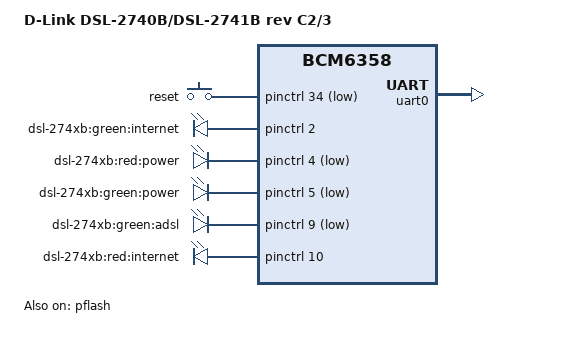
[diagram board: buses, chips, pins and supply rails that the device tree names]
/dts-v1/;

#include "bcm6358.dtsi"

#include <dt-bindings/input/input.h>

/ {
	model = "D-Link DSL-2740B/DSL-2741B rev C2/3";
	compatible = "d-link,dsl-274xb-c2", "brcm,bcm6358";

	chosen {
		bootargs = "rootfstype=squashfs,jffs2 noinitrd console=ttyS0,115200";
		stdout-path = "serial0:115200n8";
	};

	keys {
		compatible = "gpio-keys-polled";
		#address-cells = <1>;
		#size-cells = <0>;
		poll-interval = <20>;

		reset {
			label = "reset";
			gpios = <&pinctrl 34 1>;
			linux,code = <KEY_RESTART>;
			debounce-interval = <60>;
		};
	};

	leds {
		compatible = "gpio-leds";

		inet_green {
			label = "dsl-274xb:green:internet";
			gpios = <&pinctrl 2 0>;
		};
		power_red {
			label = "dsl-274xb:red:power";
			gpios = <&pinctrl 4 1>;
		};
		power_green {
			label = "dsl-274xb:green:power";
			gpios = <&pinctrl 5 1>;
			default-state = "on";
		};
		dsl_green {
			label = "dsl-274xb:green:adsl";
			gpios = <&pinctrl 9 1>;
		};
		inet_red {
			label = "dsl-274xb:red:internet";
			gpios = <&pinctrl 10 0>;
		};
	};
};

&pflash {
	status = "ok";

	partitions {
		compatible = "fixed-partitions";
		#address-cells = <1>;
		#size-cells = <1>;

		cfe@0 {
			label = "CFE";
			reg = <0x000000 0x010000>;
			read-only;
		};

		linux@10000 {
			label = "linux";
			reg = <0x010000 0x3e0000>;
			compatible = "brcm,bcm963xx-imagetag";
		};

		nvram@3f0000 {
			label = "nvram";
			reg = <0x3f0000 0x010000>;
		};
	};
};

&uart0 {
	status = "ok";
};
